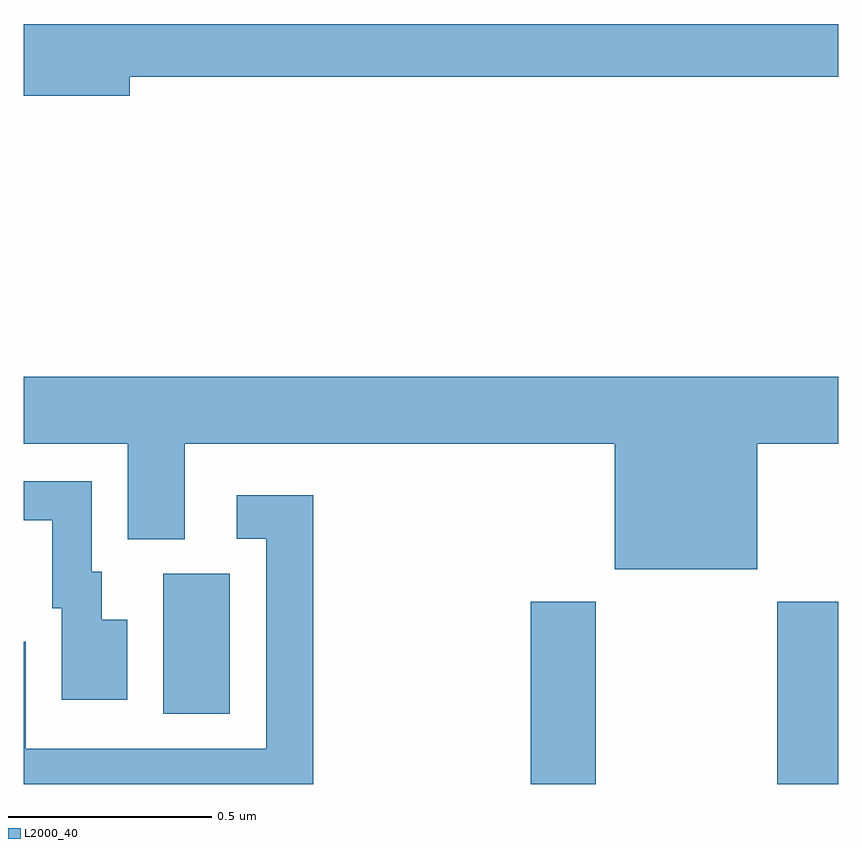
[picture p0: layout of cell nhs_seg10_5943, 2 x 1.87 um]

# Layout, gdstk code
import gdstk
lib = gdstk.Library(unit=1e-6, precision=1e-09)
def R(c, l, rs):  # rectangles x0, y0, x1, y1
    for r in rs: c.add(gdstk.rectangle(r[:2], r[2:], *l))
def P(c, l, *ps):  # polygons
    for p in ps: c.add(gdstk.Polygon(p, *l))
L2000_40 = (2000, 40)

nhs_seg10_5943 = lib.new_cell('nhs_seg10_5943')
R(nhs_seg10_5943, L2000_40, [(186.245,1279.5,186.405,1279.948), (186.85,1279.5,187,1279.948), (185.342,1279.672,185.506,1280.016)])
P(nhs_seg10_5943, L2000_40, [(185.26,1281.238),(187,1281.238),(187,1281.367),(185,1281.367),(185,1281.191),(185.26,1281.191)],
  [(186.802,1280.336),(187,1280.336),(187,1280.5),(185,1280.5),(185,1280.336),(185.255,1280.336),(185.255,1280.101),(185.395,1280.101),(185.395,1280.336),(186.452,1280.336),(186.452,1280.027),(186.802,1280.027)],
  [(185.254,1279.903),(185.191,1279.903),(185.191,1280.022),(185.166,1280.022),(185.166,1280.244),(185,1280.244),(185,1280.148),(185.069,1280.148),(185.069,1279.932),(185.093,1279.932),(185.093,1279.707),(185.254,1279.707)],
  [(185.711,1280.209),(185.523,1280.209),(185.523,1280.103),(185.595,1280.103),(185.595,1279.587),(185.004,1279.587),(185.004,1279.849),(185,1279.849),(185,1279.5),(185.711,1279.5)])

lib.write_gds('nhs_seg10_5943.gds')
